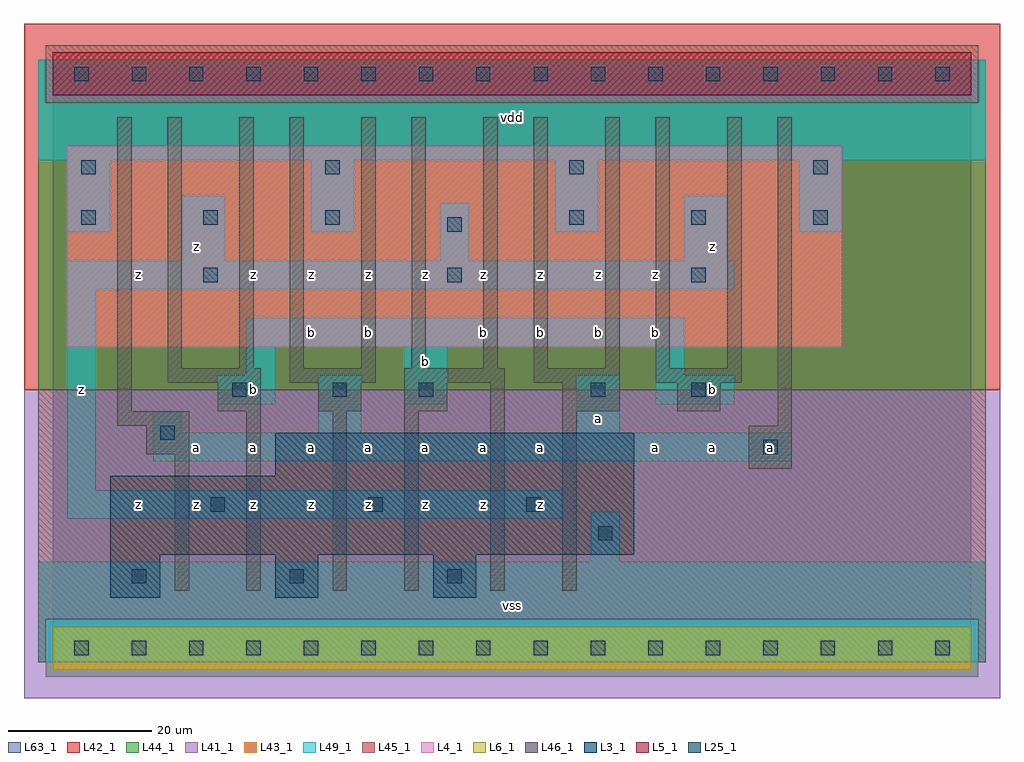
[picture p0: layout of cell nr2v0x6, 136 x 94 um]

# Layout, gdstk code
import gdstk
lib = gdstk.Library(unit=1e-6, precision=1e-09)
def R(c, l, rs):  # rectangles x0, y0, x1, y1
    for r in rs: c.add(gdstk.rectangle(r[:2], r[2:], *l))
def A(c, l, x, y, w, h, nx, ny, dx, dy):  # array of equal rectangles
    R(c, l, [(x+i*dx, y+j*dy, x+i*dx+w, y+j*dy+h) for i in range(nx) for j in range(ny)])
L3_1 = (3, 1)
L4_1 = (4, 1)
L5_1 = (5, 1)
L6_1 = (6, 1)
L25_1 = (25, 1)
L41_1 = (41, 1)
L42_1 = (42, 1)
L43_1 = (43, 1)
L44_1 = (44, 1)
L45_1 = (45, 1)
L46_1 = (46, 1)
L49_1 = (49, 1)
L63_1 = (63, 1)

nr2v0x6 = lib.new_cell('nr2v0x6')
R(nr2v0x6, L3_1, [(8,7,15,13), (31,7,37,13), (53,7,59,13), (8,13,81,24), (31,24,81,30)])
R(nr2v0x6, L4_1, [(2,42,110,70)])
R(nr2v0x6, L5_1, [(0,77,128,83)])
R(nr2v0x6, L6_1, [(0,-3,128,3), (0,-3,128,3)])
A(nr2v0x6, L25_1, 3, -1, 2, 2, 16, 2, 8, 80)
A(nr2v0x6, L25_1, 11, 9, 2, 2, 3, 1, 22, 0)
A(nr2v0x6, L25_1, 22, 19, 2, 2, 3, 1, 22, 0)
A(nr2v0x6, L25_1, 21, 51, 2, 2, 3, 1, 34, 0)
A(nr2v0x6, L25_1, 4, 59, 2, 2, 3, 1, 17, 0)
A(nr2v0x6, L25_1, 72, 59, 2, 2, 3, 1, 17, 0)
A(nr2v0x6, L25_1, 4, 66, 2, 2, 4, 1, 34, 0)
R(nr2v0x6, L25_1, [(76,15,78,17), (99,27,101,29), (15,29,17,31), (25,35,27,37), (39,35,41,37), (51,35,53,37), (75,35,77,37), (89,35,91,37), (55,58,57,60)])
R(nr2v0x6, L41_1, [(-4,-7,132,36)])
R(nr2v0x6, L42_1, [(-4,36,132,87)])
R(nr2v0x6, L43_1, [(0,-3,128,3), (8,7,15,13), (31,7,37,13), (53,7,59,13), (8,13,81,24), (31,24,81,30), (2,42,110,70), (0,77,128,83)])
R(nr2v0x6, L44_1, [(-1,-4,129,4), (-2,36,130,76), (-2,76,-1,82), (129,76,130,82)])
R(nr2v0x6, L45_1, [(-2,-2,-1,4), (129,-2,130,4), (-2,4,130,36), (-1,76,129,84)])
R(nr2v0x6, L46_1, [(17,8,19,27), (27,8,29,33), (39,8,41,33), (49,8,51,33), (61,8,63,37), (71,8,73,33), (97,25,103,31), (13,27,19,31), (9,31,19,33), (101,31,103,74), (9,33,11,74), (23,33,29,37), (37,33,43,37), (49,33,55,37), (71,33,79,37), (87,33,93,37), (16,37,29,39), (33,37,45,39), (49,37,63,39), (67,37,79,39), (84,37,96,39), (16,39,18,74), (26,39,28,74), (33,39,35,74), (43,39,45,74), (50,39,52,74), (60,39,62,74), (67,39,69,74), (77,39,79,74), (84,39,86,74), (94,39,96,74)])
A(nr2v0x6, L49_1, 2, 58, 6, 10, 4, 1, 34, 0)
R(nr2v0x6, L49_1, [(-2,-2,130,12), (75,12,79,19), (2,18,71,22), (2,22,6,50), (14,26,103,30), (14,30,18,33), (37,30,43,38), (73,30,79,38), (23,34,31,38), (49,34,55,42), (84,34,95,38), (27,38,31,42), (84,38,88,42), (27,42,88,46), (2,50,95,54), (18,54,24,63), (54,54,58,62), (88,54,94,63), (-2,68,130,82)])
R(nr2v0x6, L63_1, [(0,0,128,80)])
nr2v0x6.add(gdstk.Label('z', (12,20), layer=49, texttype=1))
nr2v0x6.add(gdstk.Label('z', (20,20), layer=49, texttype=1))
nr2v0x6.add(gdstk.Label('a', (20,28), layer=49, texttype=1))
nr2v0x6.add(gdstk.Label('z', (4,36), layer=49, texttype=1))
nr2v0x6.add(gdstk.Label('z', (12,52), layer=49, texttype=1))
nr2v0x6.add(gdstk.Label('z', (20,56), layer=49, texttype=1))
nr2v0x6.add(gdstk.Label('z', (28,20), layer=49, texttype=1))
nr2v0x6.add(gdstk.Label('a', (28,28), layer=49, texttype=1))
nr2v0x6.add(gdstk.Label('z', (36,20), layer=49, texttype=1))
nr2v0x6.add(gdstk.Label('a', (36,28), layer=49, texttype=1))
nr2v0x6.add(gdstk.Label('z', (44,20), layer=49, texttype=1))
nr2v0x6.add(gdstk.Label('a', (44,28), layer=49, texttype=1))
nr2v0x6.add(gdstk.Label('b', (28,36), layer=49, texttype=1))
nr2v0x6.add(gdstk.Label('b', (36,44), layer=49, texttype=1))
nr2v0x6.add(gdstk.Label('b', (44,44), layer=49, texttype=1))
nr2v0x6.add(gdstk.Label('z', (28,52), layer=49, texttype=1))
nr2v0x6.add(gdstk.Label('z', (36,52), layer=49, texttype=1))
nr2v0x6.add(gdstk.Label('z', (44,52), layer=49, texttype=1))
nr2v0x6.add(gdstk.Label('vss', (64,6), layer=49, texttype=1))
nr2v0x6.add(gdstk.Label('z', (52,20), layer=49, texttype=1))
nr2v0x6.add(gdstk.Label('a', (52,28), layer=49, texttype=1))
nr2v0x6.add(gdstk.Label('z', (60,20), layer=49, texttype=1))
nr2v0x6.add(gdstk.Label('a', (60,28), layer=49, texttype=1))
nr2v0x6.add(gdstk.Label('z', (68,20), layer=49, texttype=1))
nr2v0x6.add(gdstk.Label('a', (68,28), layer=49, texttype=1))
nr2v0x6.add(gdstk.Label('b', (52,40), layer=49, texttype=1))
nr2v0x6.add(gdstk.Label('b', (60,44), layer=49, texttype=1))
nr2v0x6.add(gdstk.Label('b', (68,44), layer=49, texttype=1))
nr2v0x6.add(gdstk.Label('z', (60,52), layer=49, texttype=1))
nr2v0x6.add(gdstk.Label('z', (68,52), layer=49, texttype=1))
nr2v0x6.add(gdstk.Label('z', (52,52), layer=49, texttype=1))
nr2v0x6.add(gdstk.Label('vdd', (64,74), layer=49, texttype=1))
nr2v0x6.add(gdstk.Label('a', (100,28), layer=49, texttype=1))
nr2v0x6.add(gdstk.Label('a', (84,28), layer=49, texttype=1))
nr2v0x6.add(gdstk.Label('a', (92,28), layer=49, texttype=1))
nr2v0x6.add(gdstk.Label('a', (76,32), layer=49, texttype=1))
nr2v0x6.add(gdstk.Label('b', (76,44), layer=49, texttype=1))
nr2v0x6.add(gdstk.Label('b', (84,44), layer=49, texttype=1))
nr2v0x6.add(gdstk.Label('b', (92,36), layer=49, texttype=1))
nr2v0x6.add(gdstk.Label('z', (84,52), layer=49, texttype=1))
nr2v0x6.add(gdstk.Label('z', (76,52), layer=49, texttype=1))
nr2v0x6.add(gdstk.Label('z', (92,56), layer=49, texttype=1))

lib.write_gds('nr2v0x6.gds')
